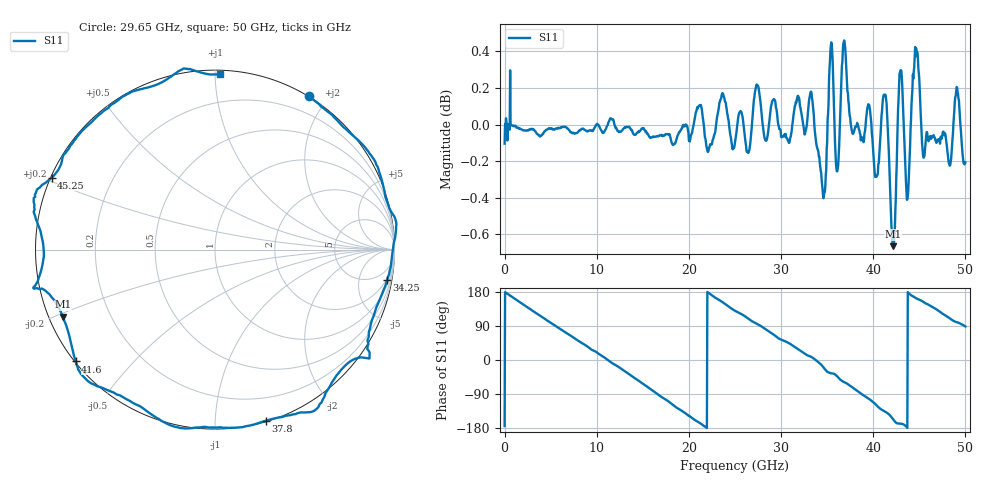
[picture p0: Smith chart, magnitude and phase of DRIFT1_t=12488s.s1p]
!Created with skrf (http://scikit-rf.org).
# Hz S RI R 50.0
!freq ReS11 ImS11
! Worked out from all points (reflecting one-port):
!   1001 points, 300 kHz to 50 GHz, reference 50 ohm
!   lowest |S11| = -0.7 dB at 42.15 GHz (marker M1), VSWR 26.14, Z = 2 - j10.5 ohm
!   phase of S11 starts at -174 deg and turns -817 deg over the sweep
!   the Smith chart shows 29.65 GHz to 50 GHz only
!   S11 on the Smith chart (normalised r, x): 29.65 GHz: -0.00, +1.79; 34.25 GHz: 2, -11; 37.8 GHz: 0.01, -1.34; 41.6 GHz: 0.00, -0.35; 45.25 GHz: 0.00, +0.21; 50 GHz: 0.02, +1.03
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300000  -0.9833 -0.0971
1.500291e9  -0.9057 0.4186
3.25028e9  -0.5916 0.8016
6.250262e9  0.2026 0.9777
9.500243e9  0.8925 0.4423
1.250022e10  0.9319 -0.3501
1.580021e10  0.2367 -0.963
1.74002e10  -0.2243 -0.9678
1.875019e10  -0.5988 -0.7919
2.150017e10  -0.9933 -0.1498
2.350016e10  -0.9222 0.4279
2.500015e10  -0.6334 0.7592
2.740014e10  -0.0946 1.021
2.965012e10  0.5245 0.8534
3.125011e10  0.7866 0.619
3.31001e10  1.002 0.1779
3.425009e10  0.9589 -0.1684
3.520009e10  0.858 -0.5662
3.750008e10  0.3707 -0.9335
3.780007e10  0.285 -0.9524
3.955006e10  -0.2224 -0.9878
4.160005e10  -0.7762 -0.6234
4.215005e10  -0.8475 -0.3739
4.290004e10  -1.011 -0.2158
4.375004e10  -0.9558 0.014
4.525003e10  -0.91 0.4012
4.770001e10  -0.4896 0.8661
5e10  0.0251 0.9761
